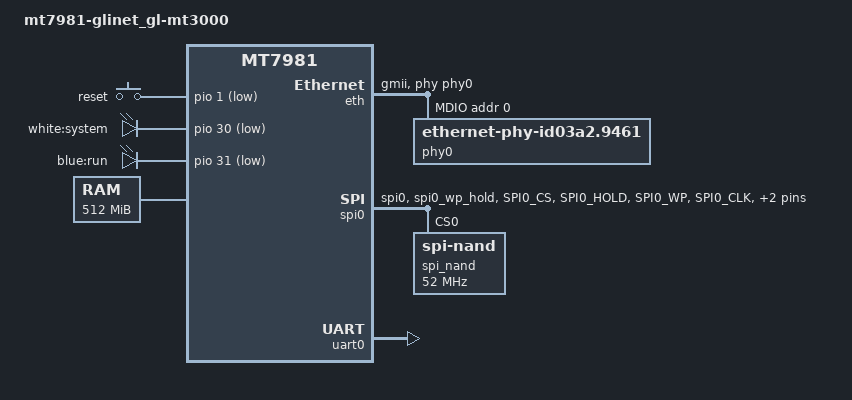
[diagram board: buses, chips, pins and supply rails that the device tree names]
// SPDX-License-Identifier: GPL-2.0
/*
 * Copyright (c) 2021 MediaTek Inc.
 * Author: Sam Shih <sam.shih@mediatek.com>
 */

/dts-v1/;
#include "mt7981.dtsi"
#include <dt-bindings/gpio/gpio.h>

/ {
	#address-cells = <1>;
	#size-cells = <1>;
	model = "mt7981-glinet_gl-mt3000";
	compatible = "mediatek,mt7981", "mediatek,mt7981-rfb";
	chosen {
		stdout-path = &uart0;
		tick-timer = &timer0;
	};

	config {
		bootcmd = "mtkboardboot";
		blink_led = "blue:run";
		system_led = "white:system";
		gpio_power_clr = <12>;
	};

	gpio-keys {
		compatible = "gpio-keys";

		button-reset {
			label = "reset";
			linux,code = <KEY_RESTART>;
			gpios = <&pio 1 GPIO_ACTIVE_LOW>;
		};
	};

	gpio-leds {
		compatible = "gpio-leds";

		led-0 {
			label = "white:system";
			gpios = <&pio 30 GPIO_ACTIVE_LOW>;
		};

		led-1 {
			label = "blue:run";
			gpios = <&pio 31 GPIO_ACTIVE_LOW>;
		};
	};

	memory@40000000 {
		device_type = "memory";
		reg = <0x40000000 0x20000000>;
	};

	bl2_verify {
		bl2_compatible = "spim-nand";
	};
};

&eth {
	status = "okay";
	mediatek,gmac-id = <1>;
	phy-mode = "gmii";
	phy-handle = <&phy0>;

	mdio {
		phy0: ethernet-phy@0 {
			compatible = "ethernet-phy-id03a2.9461";
			reg = <0x0>;
			phy-mode = "gmii";
		};
	};
};

&pio {
	spi_flash_pins: spi0-pins-func-1 {
		mux {
			function = "flash";
			groups = "spi0", "spi0_wp_hold";
		};

		conf-pu {
			pins = "SPI0_CS", "SPI0_HOLD", "SPI0_WP";
			drive-strength = <MTK_DRIVE_4mA>;
			bias-pull-up = <MTK_PUPD_SET_R1R0_11>;
		};

		conf-pd {
			pins = "SPI0_CLK", "SPI0_MOSI", "SPI0_MISO";
			drive-strength = <MTK_DRIVE_4mA>;
			bias-pull-down = <MTK_PUPD_SET_R1R0_11>;
		};
	};
};

&spi0 {
	#address-cells = <1>;
	#size-cells = <0>;
	pinctrl-names = "default";
	pinctrl-0 = <&spi_flash_pins>;
	status = "okay";
	must_tx;
	enhance_timing;
	dma_ext;
	ipm_design;
	support_quad;
	tick_dly = <2>;
	sample_sel = <0>;

	spi_nand@0 {
		compatible = "spi-nand";
		reg = <0>;
		spi-max-frequency = <52000000>;
	};
};

&uart0 {
	status = "okay";
};

&watchdog {
	status = "disabled";
};
